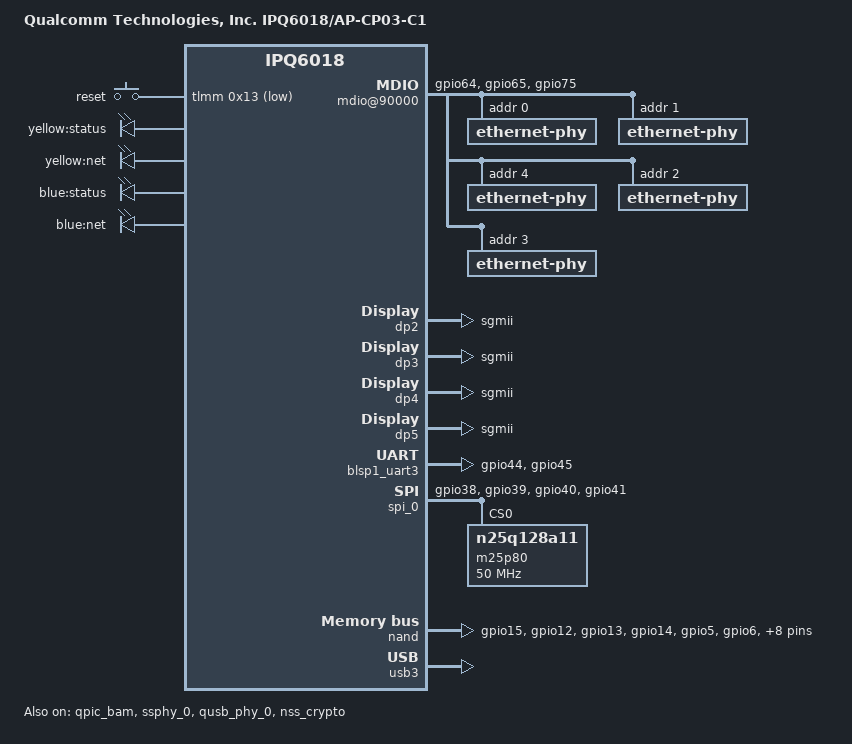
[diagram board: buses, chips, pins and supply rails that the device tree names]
/dts-v1/;
/*
 * Copyright (c) 2019, The Linux Foundation. All rights reserved.
 *
 * Permission to use, copy, modify, and/or distribute this software for any
 * purpose with or without fee is hereby granted, provided that the above
 * copyright notice and this permission notice appear in all copies.
 *
 * THE SOFTWARE IS PROVIDED "AS IS" AND THE AUTHOR DISCLAIMS ALL WARRANTIES
 * WITH REGARD TO THIS SOFTWARE INCLUDING ALL IMPLIED WARRANTIES OF
 * MERCHANTABILITY AND FITNESS. IN NO EVENT SHALL THE AUTHOR BE LIABLE FOR
 * ANY SPECIAL, DIRECT, INDIRECT, OR CONSEQUENTIAL DAMAGES OR ANY DAMAGES
 * WHATSOEVER RESULTING FROM LOSS OF USE, DATA OR PROFITS, WHETHER IN AN
 * ACTION OF CONTRACT, NEGLIGENCE OR OTHER TORTIOUS ACTION, ARISING OUT OF
 * OR IN CONNECTION WITH THE USE OR PERFORMANCE OF THIS SOFTWARE.
 */

#define __IPQ_MEM_PROFILE_256_MB__
#include "qcom-ipq6018.dtsi"
#include "qcom-ipq6018-rpm-regulator.dtsi"
#include "qcom-ipq6018-cpr-regulator.dtsi"
#include "qcom-ipq6018-cp-cpu.dtsi"
#include <dt-bindings/input/input.h>
/ {
	#address-cells = <0x2>;
	#size-cells = <0x2>;
	model = "Qualcomm Technologies, Inc. IPQ6018/AP-CP03-C1";
	compatible = "xiaomi,ax1800", "qcom,ipq6018-cp03", "qcom,ipq6018";
	interrupt-parent = <&intc>;
	qcom,msm-id = <0x1A5 0x0>;

	aliases {
		/*
		 * Aliases as required by u-boot
		 * to patch MAC addresses
		 */
		ethernet1 = "/soc/dp2";
		ethernet2 = "/soc/dp3";
		ethernet3 = "/soc/dp4";
		ethernet4 = "/soc/dp5";
	};

	chosen {
		bootargs = "console=ttyMSM0,115200,n8 rw init=/init";
		bootargs-append = " swiotlb=1 coherent_pool=2M console=ttyMSM0,115200,n8";
	};

	/*
	 * +=========+==============+========================+
	 * |        |              |                         |
	 * | Region | Start Offset |          Size           |
	 * |        |              |                         |
	 * +--------+--------------+-------------------------+
	 * |        |              |                         |
	 * |        |              |                         |
	 * |        |              |                         |
	 * |        |              |                         |
	 * | Linux  |  0x41000000  |         139MB           |
	 * |        |              |                         |
	 * |        |              |                         |
	 * |        |              |                         |
	 * +--------+--------------+-------------------------+
	 * | TZ App |  0x49B00000  |           6MB           |
	 * +--------+--------------+-------------------------+
	 *
	 * From the available 145 MB for Linux in the first 256 MB,
	 * we are reserving 6 MB for TZAPP.
	 *
	 * Refer arch/arm64/boot/dts/qcom/qcom-ipq6018-memory.dtsi
	 * for memory layout.
	 */

};

&tlmm {
	uart_pins: uart_pins {
		mux {
			pins = "gpio44", "gpio45";
			function = "blsp2_uart";
			drive-strength = <8>;
			bias-pull-down;
		};
	};

	spi_0_pins: spi_0_pins {
		mux {
			pins = "gpio38", "gpio39", "gpio40", "gpio41";
			function = "blsp0_spi";
			drive-strength = <8>;
			bias-pull-down;
		};
	};

	qpic_pins: qpic_pins {
		data_0 {
			pins = "gpio15";
			function = "qpic_pad0";
			drive-strength = <8>;
			bias-pull-down;
		};
		data_1 {
			pins = "gpio12";
			function = "qpic_pad1";
			drive-strength = <8>;
			bias-pull-down;
		};
		data_2 {
			pins = "gpio13";
			function = "qpic_pad2";
			drive-strength = <8>;
			bias-pull-down;
		};
		data_3 {
			pins = "gpio14";
			function = "qpic_pad3";
			drive-strength = <8>;
			bias-pull-down;
		};
		data_4 {
			pins = "gpio5";
			function = "qpic_pad4";
			drive-strength = <8>;
			bias-pull-down;
		};
		data_5 {
			pins = "gpio6";
			function = "qpic_pad5";
			drive-strength = <8>;
			bias-pull-down;
		};
		data_6 {
			pins = "gpio7";
			function = "qpic_pad6";
			drive-strength = <8>;
			bias-pull-down;
		};
		data_7 {
			pins = "gpio8";
			function = "qpic_pad7";
			drive-strength = <8>;
			bias-pull-down;
		};
		qpic_pad {
			pins = "gpio1", "gpio3", "gpio4",
			       "gpio10", "gpio11", "gpio17";
			function = "qpic_pad";
			drive-strength = <8>;
			bias-pull-down;
		};
	};

	button_pins: button_pins {
		wps_button {
			pins = "gpio19";
			function = "gpio";
			drive-strength = <8>;
			bias-pull-down;
		};
	};

	mdio_pins: mdio_pinmux {
		mux_0 {
			pins = "gpio64";
			function = "mdc";
			drive-strength = <8>;
			bias-pull-up;
		};
		mux_1 {
			pins = "gpio65";
			function = "mdio";
			drive-strength = <8>;
			bias-pull-up;
		};
		mux_2 {
			pins = "gpio75";
			function = "gpio";
			bias-pull-up;
		};
	};

	gpio_keys {
		pinctrl-names = "default";
		compatible = "gpio-keys";
		pinctrl-0 = <&button_pins>;

		button@1 {
			debounce-interval = <0x3c>;
			label = "reset";
			linux,code = <KEY_RESTART>;
			linux,input-type = <0x01>;
			gpios = <&tlmm 0x13 GPIO_ACTIVE_LOW>;
		};
	};
	leds_pins: leds_pins {
		led_blue {
			pins = "gpio31";
			bias-pull-down;
			function = "gpio";
			drive-strength = <0x08>;
		};

		net_blue {
			pins = "gpio29";
			bias-pull-down;
			function = "gpio";
			drive-strength = <0x08>;
		};

		net_yellow {
			pins = "gpio30";
			bias-pull-down;
			function = "gpio";
			drive-strength = <0x08>;
		};

		led_yellow {
			pins = "gpio32";
			bias-pull-down;
			function = "gpio";
			drive-strength = <0x08>;
		};
	};
};

&soc {
	mdio@90000 {
		pinctrl-0 = <&mdio_pins>;
		pinctrl-names = "default";
		phy-reset-gpio = <&tlmm 75 0>;
		status = "ok";
		ethernet-phy@0 {
			reg = <0x00>;
		};

		ethernet-phy@1 {
			reg = <0x01>;
		};

		ethernet-phy@4 {
			reg = <0x04>;
		};

		ethernet-phy@2 {
			reg = <0x02>;
		};

		ethernet-phy@3 {
			reg = <0x03>;
		};
	};

	ess-switch@3a000000 {
		switch_cpu_bmp = <0x1>;  /* cpu port bitmap */
		switch_lan_bmp = <0x1e>; /* lan port bitmap */
		switch_wan_bmp = <0x20>; /* wan port bitmap */
		switch_inner_bmp = <0xc0>; /*inner port bitmap*/
		switch_mac_mode = <0x0>; /* mac mode for uniphy instance0*/
		switch_mac_mode1 = <0xff>; /* mac mode for uniphy instance1*/
		switch_mac_mode2 = <0xff>; /* mac mode for uniphy instance2*/
		qcom,port_phyinfo {
			port@0 {
				port_id = <0x01>;
				phy_address = <0x00>;
			};

			port@4 {
				port_id = <0x05>;
				phy_address = <0x04>;
			};

			port@2 {
				port_id = <0x03>;
				phy_address = <0x02>;
			};

			port@1 {
				port_id = <0x02>;
				phy_address = <0x01>;
			};

			port@3 {
				port_id = <0x04>;
				phy_address = <0x03>;
			};

		};
	};

	dp2 {
		reg = <0x3a001200 0x200>;
		qcom,id = <0x02>;
		qcom,phy-mdio-addr = <0x01>;
		qcom,link-poll = <0x01>;
		qcom,mactype = <0x00>;
		compatible = "qcom,nss-dp";
		phy-mode = "sgmii";
		local-mac-address = [000000000000];
		device_type = "network";
	};

	dp3 {
		reg = <0x3a001400 0x200>;
		qcom,id = <0x03>;
		qcom,phy-mdio-addr = <0x02>;
		qcom,link-poll = <0x01>;
		qcom,mactype = <0x00>;
		compatible = "qcom,nss-dp";
		phy-mode = "sgmii";
		local-mac-address = [000000000000];
		device_type = "network";
	};

	dp4 {
		reg = <0x3a001600 0x200>;
		qcom,id = <0x04>;
		qcom,phy-mdio-addr = <0x03>;
		qcom,link-poll = <0x01>;
		qcom,mactype = <0x00>;
		compatible = "qcom,nss-dp";
		phy-mode = "sgmii";
		local-mac-address = [000000000000];
		device_type = "network";
	};

	dp5 {
		reg = <0x3a001800 0x200>;
		qcom,id = <0x05>;
		qcom,phy-mdio-addr = <0x04>;
		qcom,link-poll = <0x01>;
		qcom,mactype = <0x00>;
		compatible = "qcom,nss-dp";
		phy-mode = "sgmii";
		local-mac-address = [8c 53 c3 b6 7d ac];
		device_type = "network";
	};

	leds {
		compatible = "gpio-leds";
		pinctrl-0 = <&leds_pins>;
		pinctrl-names = "default";

		led_sys_yellow {
			label = "yellow:status";
			default-state = "on";
			gpio = <&tlmm 0x1e GPIO_ACTIVE_HIGH>;
		};

		led_net_yellow {
			label = "yellow:net";
			default-state = "off";
			gpio = <&tlmm 0x20 GPIO_ACTIVE_HIGH>;
		};

		led_sys_blue {
			label = "blue:status";
			default-state = "off";
			gpio = <&tlmm 0x1d GPIO_ACTIVE_HIGH>;
		};

		led_net_blue {
			label = "blue:net";
			default-state = "off";
			gpio = <&tlmm 0x1f GPIO_ACTIVE_HIGH>;
		};
	};
};

&blsp1_uart3 {
	pinctrl-0 = <&uart_pins>;
	pinctrl-names = "default";
	status = "ok";
};

&spi_0 {
	pinctrl-0 = <&spi_0_pins>;
	pinctrl-names = "default";
	cs-select = <0>;
	status = "ok";

	m25p80@0 {
		#address-cells = <1>;
		#size-cells = <1>;
		reg = <0>;
		compatible = "n25q128a11";
		linux,modalias = "m25p80", "n25q128a11";
		spi-max-frequency = <50000000>;
		use-default-sizes;
	};
};

&qpic_bam {
	status = "ok";
};

&nand {
	pinctrl-0 = <&qpic_pins>;
	pinctrl-names = "default";
	status = "ok";
};

&ssphy_0 {
	status = "ok";
};

&qusb_phy_0 {
	status = "ok";
};

&usb3 {
	status = "ok";
};

&nss_crypto {
	status = "ok";
};

&q6_region {
	reg = <0x0 0x4ab00000 0x0 0x05500000>;
};
